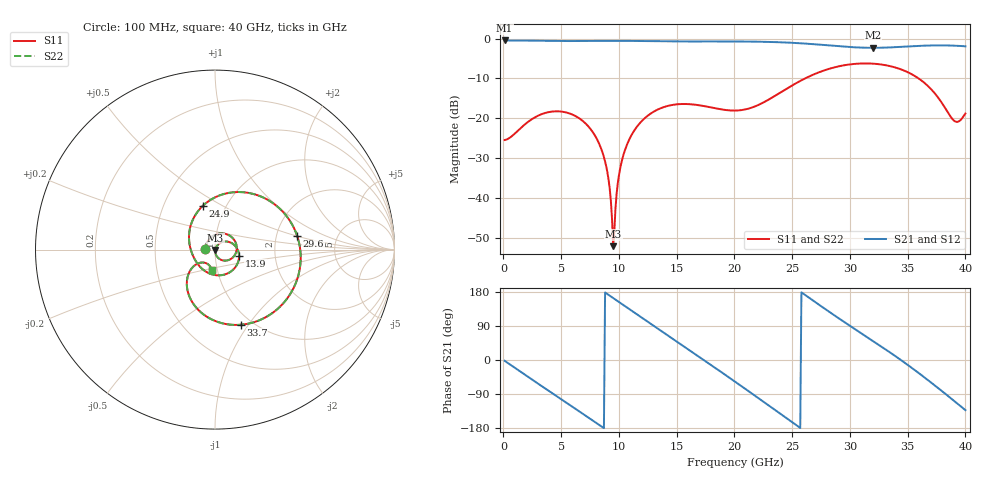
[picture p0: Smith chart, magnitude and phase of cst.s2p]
! C_s8_ap1200: L1→L8, antipad Ø1.2 on every plane
! stackup: 8-layer 1.6 mm FR-4 (generic)
! ports: 1, 2
! CST Studio Suite 2025.5 Release from 2025-05-30, time domain (FIT, hexahedral, PBA), 154800 mesh cells, 35 s
! mesh: {'lpw': 20, 'lpb': 20, 'minstep': 0.0, 'ratio': 20}; ports: port 1 (face); port 2 (face)
! interpolated from CST's 1001 samples to the case grid
# Hz S RI R 50
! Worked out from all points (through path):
!   400 points, 100 MHz to 40 GHz, reference 50 ohm
!   highest |S21| = -0.48 dB at 100 MHz (marker M1); lowest = -2.3 dB at 32 GHz (marker M2)
!   group delay of S21, straight-line fit = 58.6 ps
!   lowest |S11| = -52.1 dB at 9.5 GHz (marker M3), VSWR 1.00, Z = 50.2 - j0.135 ohm
!   |S11| at or under -10 dB: start of sweep to 26.13 GHz; 35.94 GHz to end of sweep
!   |S22| runs from -52.1 to -6.2 dB; largest |S21 - S12| = 2.8e-07
!   S11 on the Smith chart (normalised r, x): 100 MHz: 0.90, +0.01; 13.9 GHz: 1.31, -0.09; 24.9 GHz: 0.78, +0.41; 29.6 GHz: 2.63, +0.49; 33.7 GHz: 0.88, -0.92; 40 GHz: 0.94, -0.21
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1e8  -0.053 0.00578  0.9454 -0.0346  0.9454 -0.0346  -0.053 0.00578
3.6e9  0.0935 0.0691  0.2444 -0.9021  0.2444 -0.9021  0.0935 0.0691
6.8e9  0.0734 -0.0589  -0.718 -0.5928  -0.718 -0.5928  0.0734 -0.0589
8.8e9  0.00528 -0.0282  -0.9345 0.0306  -0.9345 0.0306  0.00528 -0.0282
9.2e9  0.00168 -0.0131  -0.9207 0.1659  -0.9207 0.1659  0.00168 -0.0131
9.5e9  0.00209 -0.00134  -0.8972 0.2655  -0.8972 0.2655  0.00209 -0.00134
9.9e9  0.00674 0.0137  -0.8491 0.3932  -0.8491 0.3932  0.00674 0.0137
1.05e10  0.0217 0.0324  -0.7428 0.5681  -0.7428 0.5681  0.0217 0.0324
1.34e10  0.1291 -0.00812  0.1281 0.9164  0.1281 0.9164  0.1291 -0.00812
1.39e10  0.1339 -0.034  0.2906 0.8764  0.2906 0.8764  0.1339 -0.034
1.71e10  0.0163 -0.1434  0.9142 0.0828  0.9142 0.0828  0.0163 -0.1434
2.01e10  -0.1084 -0.062  0.4845 -0.7802  0.4845 -0.7802  -0.1084 -0.062
2.24e10  -0.1445 0.0552  -0.2755 -0.8682  -0.2755 -0.8682  -0.1445 0.0552
2.49e10  -0.0682 0.2436  -0.8417 -0.2752  -0.8417 -0.2752  -0.0682 0.2436
2.67e10  0.1297 0.3209  -0.7973 0.3034  -0.7973 0.3034  0.1297 0.3209
2.96e10  0.4586 0.0738  -0.1153 0.781  -0.1153 0.781  0.4586 0.0738
3.2e10  0.3812 -0.2981  0.4903 0.5871  0.4903 0.5871  0.3812 -0.2981
3.34e10  0.1893 -0.4118  0.719 0.2837  0.719 0.2837  0.1893 -0.4118
3.37e10  0.1429 -0.4187  0.7491 0.2041  0.7491 0.2041  0.1429 -0.4187
3.55e10  -0.0949 -0.3337  0.7328 -0.3265  0.7328 -0.3265  -0.0949 -0.3337
3.74e10  -0.1478 -0.1365  0.3032 -0.7623  0.3032 -0.7623  -0.1478 -0.1365
4e10  -0.019 -0.113  -0.5379 -0.5905  -0.5379 -0.5905  -0.019 -0.113
